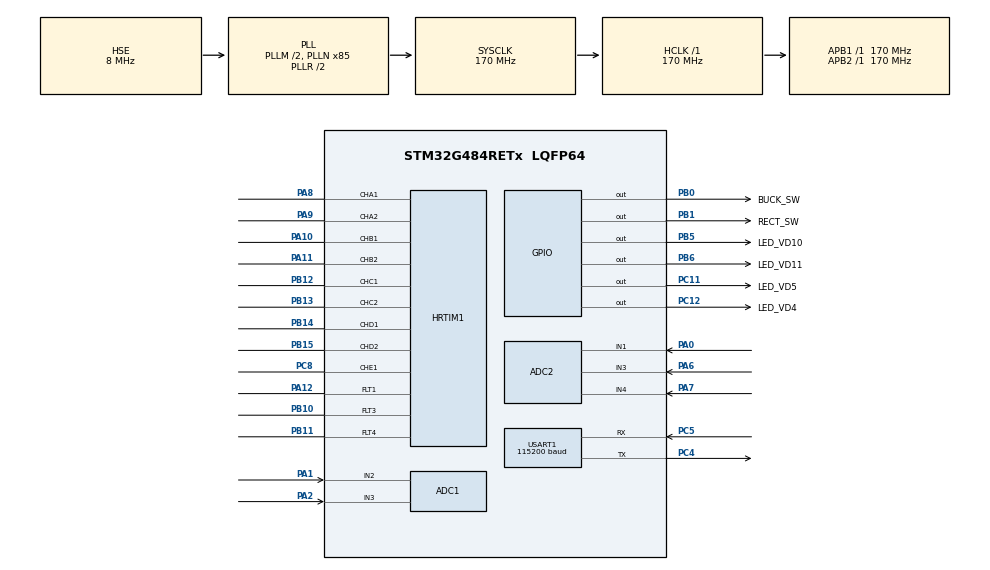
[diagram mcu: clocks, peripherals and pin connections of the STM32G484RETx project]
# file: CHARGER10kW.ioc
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HRTIM1.NumberSetSource1-Output_TE1=1
NVIC.ADC1_2_IRQn=true\:0\:0\:false\:false\:true\:true\:true
VP_TIM5_VS_ClockSourceINT.Mode=Internal
HRTIM1.InterruptRequests1-Output_TD1TD2=HRTIM_TIM_IT_CMP1
Dma.HRTIM1_A.4.EventEnable=DISABLE
ADC2.SamplingTime-1\#ChannelRegularConversion=ADC_SAMPLETIME_47CYCLES_5
PB10.Mode=Fault_Enable3
Dma.HRTIM1_A.4.SyncEnable=DISABLE
PC12.Signal=GPIO_Output
Dma.USART1_RX.2.Instance=DMA1_Channel2
HRTIM1.CompareUnit2-Output_TA1TA2=HRTIM_COMPAREUNIT_2
PB6.GPIO_Label=LED_VD11
HRTIM1.RisingValue-Output_TC1TC2=0x050
PC5.Mode=Asynchronous
HRTIM1.NumberSetSource1-Output_TD1TD2=1
PB13.Signal=HRTIM1_CHC2
HRTIM1.FallingValue-Output_TB1TB2=0x050
Dma.USART1_RX.2.SyncEnable=DISABLE
RCC.SYSCLKSource=RCC_SYSCLKSOURCE_PLLCLK
Dma.HRTIM1_E.1.MemInc=DMA_MINC_ENABLE
HRTIM1.CompareValue2-Output_TE1=15000
Dma.ADC2.3.SyncRequestNumber=1
NVIC.HRTIM1_TIME_IRQn=true\:0\:0\:false\:false\:true\:true\:true
HRTIM1.NumberFaultEnable-Output_TD1TD2=3
HRTIM1.DeadTimeInsertion-Output_TC1TC2=HRTIM_TIMDEADTIMEINSERTION_ENABLED
HRTIM1.Event_EEV1=__NULL
HRTIM1.CompareUnit3-Output_TA1TA2=HRTIM_COMPAREUNIT_3
HRTIM1.NumberResetSource1-Output_TA1TA2=1
HRTIM1.NumberInterruptRequests_Master-MasterTimer=1
NVIC.TIM5_IRQn=true\:0\:0\:false\:false\:true\:true\:true
HRTIM1.RepetitionUpdate-Output_TA1TA2=HRTIM_UPDATEONREPETITION_ENABLED
HRTIM1.ADCTrigger3_Source1=HRTIM_ADCTRIGGEREVENT13_TIMERE_CMP4
HRTIM1.RisingValue-Output_TB1TB2=0x050
RCC.APB2TimFreq_Value=170000000
PB6.Signal=GPIO_Output
Dma.ADC1.0.Direction=DMA_PERIPH_TO_MEMORY
ADC1.Channel-2\#ChannelRegularConversion=ADC_CHANNEL_2
Dma.HRTIM1_C.6.Polarity=HAL_DMAMUX_REQ_GEN_RISING
HRTIM1.ResetOutput1_Source1-Output_TA1TA2=HRTIM_OUTPUTRESET_TIMCMP1
HRTIM1.CompareUnit3-Output_TE1=HRTIM_COMPAREUNIT_3
Dma.ADC1.0.MemDataAlignment=DMA_MDATAALIGN_WORD
Dma.USART1_RX.2.SignalID=NONE
HRTIM1.NumberResetSource1-Output_TE1=1
HRTIM1.NumberDMARequests_TE=1
VP_HRTIM1_VS_hrtimMasterTimerNoOutput.Mode=MasterTimer
Dma.ADC2.3.MemDataAlignment=DMA_MDATAALIGN_WORD
HRTIM1.NumberDMARequests_TC=1
PB3.Mode=JTAG_5_pins
HRTIM1.NumberDMARequests_TD=1
HRTIM1.NumberDMARequests_TA=1
HRTIM1.NumberDMARequests_TB=1
Dma.USART1_RX.2.SyncRequestNumber=1
RCC.ADC12Freq_Value=170000000
Dma.HRTIM1_B.5.SignalID=NONE
Dma.HRTIM1_A.4.SyncRequestNumber=1
Dma.HRTIM1_E.1.Polarity=HAL_DMAMUX_REQ_GEN_RISING
Dma.HRTIM1_C.6.MemInc=DMA_MINC_ENABLE
HRTIM1.CompareUnit4-MasterTimer=HRTIM_COMPAREUNIT_4
Dma.HRTIM1_A.4.PeriphDataAlignment=DMA_PDATAALIGN_WORD
PB14.Mode=Output_TD1TD2
Dma.ADC1.0.PeriphInc=DMA_PINC_DISABLE
PB1.GPIO_Label=RECT_SW
HRTIM1.FallingValue-Output_TC1TC2=0x050
HRTIM1.InterruptRequests1-Output_TC1TC2=HRTIM_TIM_IT_CMP1
NVIC.TIM2_IRQn=true\:0\:0\:false\:false\:true\:true\:true
PA0.Mode=IN1-Single-Ended
Dma.HRTIM1_A.4.MemDataAlignment=DMA_MDATAALIGN_WORD
HRTIM1.CompareValue4-Output_TE1=0xFFEF
Dma.HRTIM1_E.1.SyncPolarity=HAL_DMAMUX_SYNC_NO_EVENT
PA8.Signal=HRTIM1_CHA1
HRTIM1.NumberFaultEnable-Output_TB1TB2=3
VP_TIM1_VS_ClockSourceINT.Mode=Internal
PA0.Signal=ADC2_IN1
HRTIM1.DeadTimeInsertion-Output_TA1TA2=HRTIM_TIMDEADTIMEINSERTION_ENABLED
Mcu.Package=LQFP64
TIM2.Prescaler=16
PB1.Signal=GPIO_Output
ADC1.EnableInjectedConversion=DISABLE
ADC1.OversamplingMode=DISABLE
HRTIM1.Filter_FaultLine1=HRTIM_FAULTFILTER_2
HRTIM1.ResetOutput1_Source1-Output_TB1TB2=HRTIM_OUTPUTRESET_TIMCMP1
HRTIM1.Filter_FaultLine3=HRTIM_FAULTFILTER_2
ADC2.Channel-1\#ChannelRegularConversion=ADC_CHANNEL_3
PA10.Signal=HRTIM1_CHB1
Dma.HRTIM1_E.1.PeriphInc=DMA_PINC_DISABLE
HRTIM1.NumberADCTriggerSource2=1
HRTIM1.NumberADCTriggerSource1=1
Dma.HRTIM1_A.4.MemInc=DMA_MINC_ENABLE
HRTIM1.NumberFaultEnable-Output_TC1TC2=3
HRTIM1.NumberADCTriggerSource3=1
RCC.APB1TimFreq_Value=170000000
Dma.USART1_RX.2.Polarity=HAL_DMAMUX_REQ_GEN_RISING
HRTIM1.InterruptRequests1_Master=HRTIM_MASTER_IT_MCMP4
HRTIM1.DeadTimeInsertion-Output_TB1TB2=HRTIM_TIMDEADTIMEINSERTION_ENABLED
ADC2.Rank-2\#ChannelRegularConversion=3
Dma.ADC2.3.SignalID=NONE
PB13.Mode=Output_TC1TC2
NVIC.DMA1_Channel4_IRQn=true\:0\:0\:false\:false\:true\:false\:true
Dma.HRTIM1_B.5.PeriphDataAlignment=DMA_PDATAALIGN_WORD
NVIC.USART1_IRQn=true\:0\:0\:false\:false\:true\:true\:true
PF1-OSC_OUT.Signal=RCC_OSC_OUT
Dma.ADC1.0.EventEnable=DISABLE
PC4.Mode=Asynchronous
HRTIM1.RisingValue-Output_TD1TD2=0x050
RCC.HSI48_VALUE=48000000
Dma.HRTIM1_A.4.Direction=DMA_MEMORY_TO_PERIPH
Dma.HRTIM1_C.6.PeriphInc=DMA_PINC_DISABLE
NVIC.DMA1_Channel6_IRQn=true\:0\:0\:false\:false\:true\:false\:true
HRTIM1.CompareUnit1-Output_TB1TB2=HRTIM_COMPAREUNIT_1
HRTIM1.FallingValue-Output_TD1TD2=0x050
HRTIM1.FaultEnable_Source1-Output_TE1=HRTIM_TIMFAULTENABLE_FAULT1
Dma.ADC2.3.PeriphDataAlignment=DMA_PDATAALIGN_WORD
HRTIM1.CompareUnit2-Output_TC1TC2=HRTIM_COMPAREUNIT_2
Dma.ADC1.0.Instance=DMA1_Channel1
HRTIM1.NumberUpdateTrigger-Output_TE1=0
HRTIM1.CompareUnit3-Output_TD1TD2=HRTIM_COMPAREUNIT_3
HRTIM1.NumberSetSource1-Output_TB1TB2=1
Dma.ADC1.0.SyncRequestNumber=1
Dma.HRTIM1_E.1.Direction=DMA_MEMORY_TO_PERIPH
Dma.HRTIM1_C.6.Priority=DMA_PRIORITY_LOW
HRTIM1.ResetUpdate-Output_TE1=HRTIM_TIMUPDATEONRESET_ENABLED
Dma.HRTIM1_E.1.PeriphDataAlignment=DMA_PDATAALIGN_WORD
HRTIM1.PreloadEnable-Output_TB1TB2=HRTIM_PRELOAD_ENABLED
HRTIM1.NumberInterruptRequests-Output_TA1TA2=1
Dma.HRTIM1_B.5.MemDataAlignment=DMA_MDATAALIGN_WORD
Dma.ADC2.3.Priority=DMA_PRIORITY_LOW
Dma.ADC2.3.SyncEnable=DISABLE
HRTIM1.RepetitionUpdate-Output_TC1TC2=HRTIM_UPDATEONREPETITION_ENABLED
Dma.USART1_RX.2.SyncPolarity=HAL_DMAMUX_SYNC_NO_EVENT
HRTIM1.CompareUnit1-Output_TE1=HRTIM_COMPAREUNIT_1
NVIC.DMA1_Channel8_IRQn=true\:0\:0\:false\:false\:true\:false\:true
HRTIM1.EventEnableA-Output_TA1TA2=__NULL
PB11.Mode=Fault_Enable4
HRTIM1.PreloadEnable-Output_TA1TA2=HRTIM_PRELOAD_ENABLED
Dma.HRTIM1_D.7.MemInc=DMA_MINC_ENABLE
Dma.HRTIM1_A.4.Polarity=HAL_DMAMUX_REQ_GEN_RISING
Dma.USART1_RX.2.Mode=DMA_CIRCULAR
Dma.ADC1.0.SignalID=NONE
Dma.ADC1.0.Priority=DMA_PRIORITY_LOW
PA9.Signal=HRTIM1_CHA2
Dma.HRTIM1_A.4.SyncSignalID=NONE
HRTIM1.PreloadEnable-MasterTimer=HRTIM_PRELOAD_ENABLED
HRTIM1.CompareUnit1-Output_TC1TC2=HRTIM_COMPAREUNIT_1
ADC2.OffsetNumber-1\#ChannelRegularConversion=ADC_OFFSET_NONE
PB10.Signal=HRTIM1_FLT3
PB14.Signal=HRTIM1_CHD1
Dma.ADC2.3.Direction=DMA_PERIPH_TO_MEMORY
Dma.ADC2.3.SyncSignalID=NONE
HRTIM1.InterruptRequests1-Output_TB1TB2=HRTIM_TIM_IT_CMP1
ADC2.OffsetNumber-0\#ChannelRegularConversion=ADC_OFFSET_NONE
Dma.HRTIM1_C.6.PeriphDataAlignment=DMA_PDATAALIGN_WORD
NVIC.TIM1_BRK_TIM15_IRQn=true\:0\:0\:false\:false\:true\:true\:true
Dma.HRTIM1_C.6.MemDataAlignment=DMA_MDATAALIGN_WORD
NVIC.HRTIM1_Master_IRQn=true\:0\:0\:false\:false\:true\:true\:true
Dma.USART1_RX.2.Priority=DMA_PRIORITY_LOW
ADC2.Channel-2\#ChannelRegularConversion=ADC_CHANNEL_4
NVIC.TIM3_IRQn=true\:0\:0\:false\:false\:true\:true\:true
Dma.HRTIM1_B.5.Direction=DMA_MEMORY_TO_PERIPH
RCC.ADC345Freq_Value=170000000
PA1.Mode=IN2-Single-Ended
Dma.USART1_RX.2.Direction=DMA_PERIPH_TO_MEMORY
Dma.HRTIM1_B.5.SyncRequestNumber=1
HRTIM1.CompareUnit1-Output_TA1TA2=HRTIM_COMPAREUNIT_1
HRTIM1.NumberInterruptRequests-Output_TB1TB2=1
HRTIM1.CompareUnit2-Output_TB1TB2=HRTIM_COMPAREUNIT_2
HRTIM1.CompareUnit3-Output_TC1TC2=HRTIM_COMPAREUNIT_3
ADC1.DMAContinuousRequests=ENABLE
HRTIM1.InterruptRequests2-Output_TE1=HRTIM_TIM_IT_CMP4
PA13.Mode=JTAG_5_pins
Dma.HRTIM1_B.5.RequestNumber=1
Dma.USART1_RX.2.MemInc=DMA_MINC_ENABLE
Dma.HRTIM1_C.6.Direction=DMA_MEMORY_TO_PERIPH
ADC1.ExternalTrigConv=ADC_EXTERNALTRIG_HRTIM_TRG1
NVIC.TIM1_CC_IRQn=true\:0\:0\:false\:false\:true\:true\:true
PC8.Mode=Output_TE1
Dma.HRTIM1_D.7.SyncSignalID=NONE
HRTIM1.DeadTimeInsertion-Output_TD1TD2=HRTIM_TIMDEADTIMEINSERTION_ENABLED
PB5.Signal=GPIO_Output
HRTIM1.NumberInterruptRequests-Output_TD1TD2=1
ADC1.master=1
RCC.USART1CLockSelection=RCC_USART1CLKSOURCE_SYSCLK
ADC2.NbrOfConversionFlag=1
HRTIM1.InterruptRequests1-Output_TA1TA2=HRTIM_TIM_IT_CMP1
HRTIM1.FallingValue-Output_TA1TA2=0x050
PC12.GPIO_Label=LED_VD4
Dma.ADC1.0.RequestNumber=1
Dma.HRTIM1_D.7.EventEnable=DISABLE
PA11.Signal=HRTIM1_CHB2
Dma.HRTIM1_B.5.Mode=DMA_CIRCULAR
NVIC.DMA2_Channel1_IRQn=true\:0\:0\:false\:false\:true\:false\:true
Dma.ADC2.3.EventEnable=DISABLE
ProjectManager.HeapSize=0x200
ADC2.OversamplingMode=DISABLE
VP_TIM4_VS_ClockSourceINT.Mode=Internal
Dma.HRTIM1_E.1.SignalID=NONE
NVIC.PriorityGroup=NVIC_PRIORITYGROUP_4
HRTIM1.NumberSetSource1-Output_TC1TC2=1
ADC1.EnableRegularConversion=ENABLE
PA8.Mode=Output_TA1TA2
Dma.HRTIM1_B.5.Instance=DMA1_Channel5
NVIC.DMA1_Channel1_IRQn=true\:0\:0\:false\:false\:true\:false\:true
PF0-OSC_IN.Signal=RCC_OSC_IN
Dma.HRTIM1_D.7.PeriphInc=DMA_PINC_DISABLE
HRTIM1.RepetitionUpdate-Output_TB1TB2=HRTIM_UPDATEONREPETITION_ENABLED
Dma.HRTIM1_D.7.Polarity=HAL_DMAMUX_REQ_GEN_RISING
Dma.HRTIM1_A.4.SyncPolarity=HAL_DMAMUX_SYNC_NO_EVENT
HRTIM1.CompareUnit3-Output_TB1TB2=HRTIM_COMPAREUNIT_3
PB0.Signal=GPIO_Output
Dma.HRTIM1_A.4.Priority=DMA_PRIORITY_LOW
TIM1.PeriodNoDither=499
Dma.HRTIM1_E.1.Priority=DMA_PRIORITY_VERY_HIGH
Mcu.Family=STM32G4
HRTIM1.PreloadEnable-Output_TD1TD2=HRTIM_PRELOAD_ENABLED
Dma.USART1_RX.2.EventEnable=DISABLE
ADC2.ExternalTrigConv=ADC_SOFTWARE_START
PA6.Mode=IN3-Single-Ended
ADC2.OffsetNumber-2\#ChannelRegularConversion=ADC_OFFSET_NONE
RCC.CortexFreq_Value=170000000
Dma.ADC2.3.SyncPolarity=HAL_DMAMUX_SYNC_NO_EVENT
HRTIM1.NumberInterruptRequests-Output_TC1TC2=1
HRTIM1.DMARequests1-Output_TA1TA2=HRTIM_TIM_DMA_REP
HRTIM1.NumberInterruptRequests-Output_TE1=2
NVIC.DMA1_Channel5_IRQn=true\:0\:0\:false\:false\:true\:false\:true
ADC1.ContinuousConvMode=ENABLE
ADC2.Channel-0\#ChannelRegularConversion=ADC_CHANNEL_1
Dma.ADC1.0.Polarity=HAL_DMAMUX_REQ_GEN_RISING
Dma.HRTIM1_A.4.SignalID=NONE
USART1.BaudRate=115200
Dma.HRTIM1_E.1.SyncEnable=DISABLE
Dma.HRTIM1_D.7.Instance=DMA1_Channel8
PA11.Mode=Output_TB1TB2
PB0.GPIO_Label=BUCK_SW
HRTIM1.CompareValue3-Output_TE1=15000
HRTIM1.FaultEnable_Source2-Output_TD1TD2=HRTIM_TIMFAULTENABLE_FAULT3
PB11.Signal=HRTIM1_FLT4
Dma.USART1_RX.2.SyncSignalID=NONE
HRTIM1.FaultLevel1-Output_TC1TC2=HRTIM_OUTPUTFAULTLEVEL_INACTIVE
PB15.Signal=HRTIM1_CHD2
HRTIM1.InterruptRequests1-Output_TE1=HRTIM_TIM_IT_CMP1
ADC2.DiscontinuousConvMode=ENABLE
Dma.HRTIM1_E.1.RequestNumber=1
HRTIM1.FaultLevel1-Output_TE1=HRTIM_OUTPUTFAULTLEVEL_INACTIVE
ProjectManager.StackSize=0x400
Dma.ADC2.3.Polarity=HAL_DMAMUX_REQ_GEN_RISING
PA12.Signal=HRTIM1_FLT1
TIM1.Prescaler=16
HRTIM1.SetOutput1_Source1-Output_TA1TA2=HRTIM_OUTPUTSET_TIMPER
ADC2.DMAContinuousRequests=ENABLE
Dma.HRTIM1_A.4.RequestNumber=1
HRTIM1.CompareUnit4-Output_TE1=HRTIM_COMPAREUNIT_4
HRTIM1.Periode_MASTER=38857
ADC1.Channel-3\#ChannelRegularConversion=ADC_CHANNEL_3
HRTIM1.NumberFaultEnable-Output_TE1=3
RCC.HCLKFreq_Value=170000000
Dma.ADC2.3.PeriphInc=DMA_PINC_DISABLE
Dma.HRTIM1_A.4.Instance=DMA1_Channel4
HRTIM1.ResetOutput1_Source1-Output_TD1TD2=HRTIM_OUTPUTRESET_TIMCMP1
HRTIM1.CompareUnit2-Output_TE1=HRTIM_COMPAREUNIT_2
RCC.AHBFreq_Value=170000000
HRTIM1.ORingUpdateSource_ADCTrigger3=HRTIM_ADCTRIGGERUPDATE_TIMER_E
NVIC.HRTIM1_FLT_IRQn=true\:0\:0\:false\:false\:true\:true\:true
Dma.HRTIM1_D.7.SyncRequestNumber=1
HRTIM1.ORingUpdateSource_ADCTrigger1=HRTIM_ADCTRIGGERUPDATE_TIMER_E
HRTIM1.ORingUpdateSource_ADCTrigger2=HRTIM_ADCTRIGGERUPDATE_TIMER_E
Dma.HRTIM1_D.7.SignalID=NONE
RCC.HSE_VALUE=8000000
HRTIM1.Polarity_FaultLine1=HRTIM_FAULTPOLARITY_LOW
HRTIM1.RepetitionUpdate-Output_TD1TD2=HRTIM_UPDATEONREPETITION_ENABLED
PA15.Mode=JTAG_5_pins
HRTIM1.NumberSetSource1-Output_TA1TA2=1
NVIC.TIM1_TRG_COM_TIM17_IRQn=true\:0\:0\:false\:false\:true\:true\:true
TIM2.PeriodNoDither=499
ADC1.Rank-2\#ChannelRegularConversion=1
PB4.Mode=JTAG_5_pins
Dma.HRTIM1_B.5.SyncPolarity=HAL_DMAMUX_SYNC_NO_EVENT
HRTIM1.RepetitionUpdate-Output_TE1=HRTIM_UPDATEONREPETITION_ENABLED
PA14.Mode=JTAG_5_pins
TIM3.Prescaler=169
HRTIM1.HRTIMInterruptResquests3=HRTIM_IT_FLT4
HRTIM1.PrescalerRatio_MASTER=HRTIM_PRESCALERRATIO_MUL16
PC11.GPIO_Label=LED_VD5
HRTIM1.HRTIMInterruptResquests4=HRTIM_IT_NONE
Dma.HRTIM1_D.7.Priority=DMA_PRIORITY_LOW
HRTIM1.HRTIMInterruptResquests1=HRTIM_IT_FLT1
HRTIM1.HRTIMInterruptResquests2=HRTIM_IT_FLT3
HRTIM1.FaultEnable_Source1-Output_TD1TD2=HRTIM_TIMFAULTENABLE_FAULT1
VP_SYS_VS_DBSignals.Mode=DisableDeadBatterySignals
HRTIM1.DMARequests1-Output_TB1TB2=HRTIM_TIM_DMA_REP
HRTIM1.FaultEnable_Source3-Output_TC1TC2=HRTIM_TIMFAULTENABLE_NONE
Dma.HRTIM1_D.7.SyncPolarity=HAL_DMAMUX_SYNC_NO_EVENT
HRTIM1.ResetOutput1_Source1-Output_TE1=HRTIM_OUTPUTRESET_TIMCMP1
Dma.HRTIM1_B.5.SyncEnable=DISABLE
HRTIM1.FaultLevel2-Output_TC1TC2=HRTIM_OUTPUTFAULTLEVEL_INACTIVE
Dma.HRTIM1_D.7.MemDataAlignment=DMA_MDATAALIGN_WORD
PA6.Signal=ADC2_IN3
PB12.Mode=Output_TC1TC2
HRTIM1.CompareUnit2-Output_TD1TD2=HRTIM_COMPAREUNIT_2
HRTIM1.FaultEnable_Source1-Output_TB1TB2=HRTIM_TIMFAULTENABLE_FAULT1
HRTIM1.FaultEnable_Source2-Output_TC1TC2=HRTIM_TIMFAULTENABLE_FAULT3
Dma.ADC2.3.RequestNumber=1
HRTIM1.FaultEnable_Source3-Output_TD1TD2=HRTIM_TIMFAULTENABLE_NONE
PA15.Signal=SYS_JTDI
ADC2.SamplingTime-0\#ChannelRegularConversion=ADC_SAMPLETIME_47CYCLES_5
Dma.HRTIM1_E.1.SyncRequestNumber=1
HRTIM1.ADCTrigger1_Source1=HRTIM_ADCTRIGGEREVENT13_TIMERE_CMP4
TIM3.PeriodNoDither=999
HRTIM1.ResetOutput1_Source1-Output_TC1TC2=HRTIM_OUTPUTRESET_TIMCMP1
HRTIM1.FaultLevel1-Output_TD1TD2=HRTIM_OUTPUTFAULTLEVEL_INACTIVE
Dma.HRTIM1_B.5.Polarity=HAL_DMAMUX_REQ_GEN_RISING
HRTIM1.CompareUnit1-Output_TD1TD2=HRTIM_COMPAREUNIT_1
Dma.HRTIM1_C.6.Mode=DMA_CIRCULAR
ADC2.SamplingTime-2\#ChannelRegularConversion=ADC_SAMPLETIME_47CYCLES_5
PB5.GPIO_Label=LED_VD10
ADC2.NbrOfConversion=3
Dma.Request2=USART1_RX
HRTIM1.Enable_FaultLine4=HRTIM_FAULTMODECTL_DISABLED
Dma.Request1=HRTIM1_E
Dma.Request4=HRTIM1_A
Dma.Request3=ADC2
Dma.Request6=HRTIM1_C
Dma.Request5=HRTIM1_B
Dma.Request7=HRTIM1_D
PC5.Signal=USART1_RX
Dma.HRTIM1_B.5.MemInc=DMA_MINC_ENABLE
Dma.HRTIM1_C.6.RequestNumber=1
HRTIM1.FaultEnable_Source1-Output_TC1TC2=HRTIM_TIMFAULTENABLE_FAULT1
ADC2.Rank-0\#ChannelRegularConversion=1
Dma.HRTIM1_E.1.MemDataAlignment=DMA_MDATAALIGN_WORD
PF1-OSC_OUT.Mode=HSE-External-Oscillator
Dma.Request0=ADC1
HRTIM1.PreloadEnable-Output_TC1TC2=HRTIM_PRELOAD_ENABLED
VP_TIM3_VS_ClockSourceINT.Mode=Internal
Dma.USART1_RX.2.MemDataAlignment=DMA_MDATAALIGN_BYTE
PB4.Signal=SYS_JTRST
Dma.HRTIM1_A.4.Mode=DMA_CIRCULAR
HRTIM1.FaultEnable_Source2-Output_TE1=HRTIM_TIMFAULTENABLE_FAULT3
Dma.HRTIM1_D.7.Direction=DMA_MEMORY_TO_PERIPH
HRTIM1.FaultLevel2-Output_TD1TD2=HRTIM_OUTPUTFAULTLEVEL_INACTIVE
Dma.HRTIM1_E.1.Mode=DMA_CIRCULAR
RCC.PLLSourceVirtual=RCC_PLLSOURCE_HSE
HRTIM1.NumberFaultEnable-Output_TA1TA2=3
Dma.HRTIM1_C.6.SignalID=NONE
PA7.Mode=IN4-Single-Ended
HRTIM1.FaultLevel1-Output_TA1TA2=HRTIM_OUTPUTFAULTLEVEL_INACTIVE
PA10.Mode=Output_TB1TB2
HRTIM1.FaultLevel2-Output_TB1TB2=HRTIM_OUTPUTFAULTLEVEL_INACTIVE
HRTIM1.ADCTrigger2_Source1=HRTIM_ADCTRIGGEREVENT24_TIMERE_CMP3
PC11.Signal=GPIO_Output
TIM4.PeriodNoDither=999
ADC1.OffsetNumber-3\#ChannelRegularConversion=ADC_OFFSET_NONE
PC8.Signal=HRTIM1_CHE1
Dma.HRTIM1_B.5.PeriphInc=DMA_PINC_DISABLE
PC4.Signal=USART1_TX
Dma.HRTIM1_C.6.EventEnable=DISABLE
RCC.EXTERNAL_CLOCK_VALUE=12288000
HRTIM1.FaultEnable_Source2-Output_TA1TA2=HRTIM_TIMFAULTENABLE_FAULT3
Dma.ADC2.3.Instance=DMA2_Channel1
Dma.HRTIM1_C.6.SyncEnable=DISABLE
Dma.HRTIM1_E.1.SyncSignalID=NONE
Dma.USART1_RX.2.PeriphInc=DMA_PINC_DISABLE
ADC1.SamplingTime-2\#ChannelRegularConversion=ADC_SAMPLETIME_47CYCLES_5
Dma.HRTIM1_D.7.RequestNumber=1
HRTIM1.PrescalerRatio_TE=HRTIM_PRESCALERRATIO_MUL16
HRTIM1.SetOutput1_Source1-Output_TB1TB2=HRTIM_OUTPUTSET_TIMPER
USART1.VirtualMode-Asynchronous=VM_ASYNC
PA13.Signal=SYS_JTMS-SWDIO
Dma.HRTIM1_C.6.SyncSignalID=NONE
Dma.ADC1.0.PeriphDataAlignment=DMA_PDATAALIGN_WORD
HRTIM1.DMARequests1-Output_TC1TC2=HRTIM_TIM_DMA_REP
PA9.Mode=Output_TA1TA2
HRTIM1.FaultEnable_Source1-Output_TA1TA2=HRTIM_TIMFAULTENABLE_FAULT1
Dma.HRTIM1_B.5.SyncSignalID=NONE
HRTIM1.RepetitionUpdate-MasterTimer=HRTIM_UPDATEONREPETITION_ENABLED
NVIC.DMA1_Channel2_IRQn=true\:0\:0\:false\:false\:true\:false\:true
ProjectManager.TargetToolchain=STM32CubeIDE
Dma.ADC1.0.Mode=DMA_NORMAL
Dma.HRTIM1_C.6.Instance=DMA1_Channel7
HRTIM1.FaultEnable_Source2-Output_TB1TB2=HRTIM_TIMFAULTENABLE_FAULT3
USART1.DataInvertParam=ADVFEATURE_DATAINV_DISABLE
Dma.ADC1.0.SyncSignalID=NONE
Dma.USART1_RX.2.PeriphDataAlignment=DMA_PDATAALIGN_BYTE
HRTIM1.AutoDelayedMode4-Output_TE1=HRTIM_AUTODELAYEDMODE_AUTODELAYED_NOTIMEOUT
HRTIM1.ResetUpdate-Output_TA1TA2=HRTIM_TIMUPDATEONRESET_ENABLED
HRTIM1.FaultLevel1-Output_TB1TB2=HRTIM_OUTPUTFAULTLEVEL_INACTIVE
HRTIM1.NumberResetSource1-Output_TD1TD2=1
RCC.USBFreq_Value=170000000
TIM4.Prescaler=169
RCC.LSE_VALUE=32768
PA1.Signal=ADC1_IN2
PF0-OSC_IN.Mode=HSE-External-Oscillator
HRTIM1.FaultEnable_Source3-Output_TB1TB2=HRTIM_TIMFAULTENABLE_NONE
Dma.HRTIM1_E.1.Instance=DMA1_Channel6
HRTIM1.ADCTrigger_Id2=__NULL
HRTIM1.ADCTrigger_Id1=HRTIM_ADCTRIGGER_1
HRTIM1.ADCTrigger_Id3=HRTIM_ADCTRIGGER_3
board=custom
HRTIM1.FaultEnable_Source3-Output_TA1TA2=HRTIM_TIMFAULTENABLE_NONE
RCC.VCOOutputFreq_Value=340000000
PB15.Mode=Output_TD1TD2
HRTIM1.Polarity_FaultLine3=HRTIM_FAULTPOLARITY_LOW
HRTIM1.Polarity_FaultLine4=HRTIM_FAULTPOLARITY_LOW
Dma.ADC1.0.SyncPolarity=HAL_DMAMUX_SYNC_NO_EVENT
HRTIM1.FaultLevel2-Output_TA1TA2=HRTIM_OUTPUTFAULTLEVEL_INACTIVE
RCC.APB2Freq_Value=170000000
HRTIM1.CompareValue1-Output_TE1=5000
VP_TIM2_VS_ClockSourceINT.Mode=Internal
Dma.HRTIM1_B.5.Priority=DMA_PRIORITY_LOW
Dma.ADC2.3.Mode=DMA_CIRCULAR
Dma.HRTIM1_C.6.SyncPolarity=HAL_DMAMUX_SYNC_NO_EVENT
HRTIM1.SetOutput1_Source1-Output_TD1TD2=HRTIM_OUTPUTSET_TIMPER
Dma.HRTIM1_D.7.Mode=DMA_CIRCULAR
Dma.ADC2.3.MemInc=DMA_MINC_ENABLE
ADC1.NbrOfConversion=2
ADC1.OffsetNumber-2\#ChannelRegularConversion=ADC_OFFSET_NONE
Mcu.Name=STM32G484RETx
PA2.Signal=ADC1_IN3
Dma.HRTIM1_B.5.EventEnable=DISABLE
HRTIM1.SetOutput1_Source1-Output_TE1=HRTIM_OUTPUTSET_TIMPER
TIM5.PeriodNoDither=999
HRTIM1.NumberResetSource1-Output_TC1TC2=1
PB3.Signal=SYS_JTDO-SWO
RCC.SYSCLKFreq_VALUE=170000000
USART1.OverSampling=UART_OVERSAMPLING_16
PA12.Mode=Fault_Enable1
HRTIM1.NumberResetSource1-Output_TB1TB2=1
ADC1.SamplingTime-3\#ChannelRegularConversion=ADC_SAMPLETIME_47CYCLES_5
ADC1.Rank-3\#ChannelRegularConversion=2
TIM5.Prescaler=169
USART1.AutoBaudRateEnableParam=UART_ADVFEATURE_AUTOBAUDRATE_DISABLE
Dma.HRTIM1_D.7.SyncEnable=DISABLE
HRTIM1.FaultLock-Output_TE1=HRTIM_TIMFAULTLOCK_READWRITE
HRTIM1.DMARequests1-Output_TE1=HRTIM_TIM_DMA_REP
Dma.HRTIM1_A.4.PeriphInc=DMA_PINC_DISABLE
Dma.ADC1.0.SyncEnable=DISABLE
HRTIM1.RisingValue-Output_TA1TA2=0x050
Dma.ADC1.0.MemInc=DMA_MINC_ENABLE
PA14.Signal=SYS_JTCK-SWCLK
RCC.HSI_VALUE=16000000
NVIC.TIM1_UP_TIM16_IRQn=true\:0\:0\:false\:false\:true\:true\:true
ADC1.NbrOfConversionFlag=1
RCC.PLLM=RCC_PLLM_DIV2
HRTIM1.DMARequests1-Output_TD1TD2=HRTIM_TIM_DMA_REP
RCC.PLLN=85
ADC2.Rank-1\#ChannelRegularConversion=2
PA2.Mode=IN3-Single-Ended
NVIC.FPU_IRQn=true\:0\:0\:false\:false\:true\:true\:false
HRTIM1.FaultEnable_Source3-Output_TE1=HRTIM_TIMFAULTENABLE_NONE
NVIC.DMA1_Channel7_IRQn=true\:0\:0\:false\:false\:true\:false\:true
NVIC.TIM4_IRQn=true\:0\:0\:false\:false\:true\:true\:true
RCC.APB1Freq_Value=170000000
VP_CRC_VS_CRC.Mode=CRC_Activate
HRTIM1.SetOutput1_Source1-Output_TC1TC2=HRTIM_OUTPUTSET_TIMPER
HRTIM1.Periode_TA=28632
HRTIM1.Periode_TB=28632
Dma.HRTIM1_D.7.PeriphDataAlignment=DMA_PDATAALIGN_WORD
HRTIM1.Periode_TC=28632
Dma.HRTIM1_C.6.SyncRequestNumber=1
HRTIM1.Periode_TD=28632
PB12.Signal=HRTIM1_CHC1
Dma.HRTIM1_E.1.EventEnable=DISABLE
HRTIM1.Periode_TE=38857
Dma.USART1_RX.2.RequestNumber=1
PA7.Signal=ADC2_IN4
HRTIM1.PreloadEnable-Output_TE1=HRTIM_PRELOAD_ENABLED

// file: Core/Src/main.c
/* USER CODE BEGIN Header */
/**
  ******************************************************************************
  * @file           : main.c
  * @brief          : Main program body
  ******************************************************************************
  * @attention
  *
  * <h2><center>&copy; Copyright (c) 2021 STMicroelectronics.
  * All rights reserved.</center></h2>
  *
  * This software component is licensed by ST under BSD 3-Clause license,
  * the "License"; You may not use this file except in compliance with the
  * License. You may obtain a copy of the License at:
  *                        opensource.org/licenses/BSD-3-Clause
  *
  ******************************************************************************
  */
/* USER CODE END Header */
#include "main.h"
#include "adc.h"
#include "crc.h"
#include "dma.h"
#include "hrtim.h"
#include "hrtim.h"
#include "tim.h"
#include "usart.h"
#include "gpio.h"

/* USER CODE BEGIN Includes */
#include "Application_Conf.h"
#include "DPC_Timeout.h"
#include "ControlFunc.h"
#include "PWM_Functions.h"
#include "UART_Functions.h"
/* USER CODE END Includes */

/* USER CODE BEGIN PV */
HAL_StatusTypeDef Init_Status;

PID_Control_Struct PID_CONF_StartUp;

PID_Control_Struct UDC_LIMIT_PID;
PID_Control_Struct IDC_LIMIT_PID;

static DMA_PWMDUTY_STRUCT DMA_HRTIM_SRC;
static DMA_UART_STRUCT DMA_UART_SRC;
extern UART_Message_Struct UART_MSG;
uint16_t ADDr_to_send[5];
uint16_t DATA_to_send[5];
uint8_t P_data[30];

extern RAW_ADC_Struct Raw_ADC;
extern RAW_ADC_Struct Raw_DMA;

ADC_Conf_TypeDef ADC_Conf;
Cooked_ADC_Struct ADC_IN_PHY;

uint16_t StartUp;
float PID_Result;
float PID_Result_V;
float PID_Result_I;
float PWM;
uint32_t p_ADC1_Data[ADC1_CHs];
uint32_t p_ADC2_Data[ADC2_CHs];

volatile FlagStatus Calc_Start;
FlagStatus DMA_FLAG;

uint16_t service_sw;
uint32_t service_adc_time_check;

System_state Status;

/* USER CODE END PV */

void SystemClock_Config(void);

int main(void)
{

  /* MCU Configuration--------------------------------------------------------*/

  /* Reset of all peripherals, Initializes the Flash interface and the Systick. */
  HAL_Init();

  /* Configure the system clock */
  SystemClock_Config();

  /* Initialize all configured peripherals */
  MX_GPIO_Init();
  MX_DMA_Init();
  MX_ADC1_Init();
  MX_ADC2_Init();
  MX_HRTIM1_Init();
  MX_TIM1_Init();
  MX_TIM2_Init();
  MX_TIM3_Init();
  MX_TIM4_Init();
  MX_TIM5_Init();
  MX_USART1_UART_Init();
  MX_CRC_Init();
  /* USER CODE BEGIN 2 */

  PID_Init(&PID_CONF_StartUp, STUP_PID_K_P,STUP_PID_K_I,STUP_PID_K_D, BUCK_Math_Frequency, STUP_PID_W_F, STUP_PID_SAT_UP,
		  STUP_PID_SAT_DOWN, STUP_PID_HIST, STUP_PID_ANTIWINDUP, STUP_PID_BASE_VAL);
  PID_Init(&UDC_LIMIT_PID, V_LIM_PID_K_P,V_LIM_PID_K_I,V_LIM_PID_K_D, BUCK_Math_Frequency, V_LIM_PID_W_F, V_LIM_PID_SAT_UP,
		  V_LIM_PID_SAT_DOWN, V_LIM_PID_HIST, V_LIM_PID_ANTIWINDUP, V_LIM_PID_BASE_VAL);
  PID_Init(&IDC_LIMIT_PID, I_LIM_PID_K_P,I_LIM_PID_K_I,I_LIM_PID_K_D, BUCK_Math_Frequency, I_LIM_PID_W_F, I_LIM_PID_SAT_UP,
		  I_LIM_PID_SAT_DOWN, I_LIM_PID_HIST, I_LIM_PID_ANTIWINDUP, I_LIM_PID_BASE_VAL);

  ADC_Gain_Init(&ADC_Conf,G_VAC,B_VAC,G_IAC,B_IAC,G_VDC,B_VDC,G_IDC,B_IDC);
  ADC_Gain_Init_2(&ADC_Conf,G_VDCLINK,B_VDCLINK,G_IDCLINK,B_IDCLINK,G_VRECT,B_VRECT);

  HAL_TIM_Base_Start_IT(&htim1);
  HAL_TIM_Base_Start_IT(&htim2);
  HAL_TIM_Base_Start_IT(&htim3);
  HAL_TIM_Base_Start_IT(&htim4);

  DPC_TO_Init();

  DPC_TO_Set(1,1000);
  DPC_TO_Set(TO_UART,UART_DELAY);
  DPC_TO_Set(TO_CHARGING_RELAYS, CHARGE_DELAY);
  //HRTIM_PWM_Init(&DMA_HRTIM_SRC);

  HRTIM_PWM_Init(&DMA_HRTIM_SRC);

  HAL_HRTIM_SimpleBaseStart(&hhrtim1, HRTIM_TIMERINDEX_MASTER);
  HAL_HRTIM_WaveformCountStart_IT(&hhrtim1, HRTIM_TIMERINDEX_MASTER);
  HAL_HRTIM_UpdateEnable(&hhrtim1,HRTIM_TIMERINDEX_MASTER);

  HAL_HRTIM_SimpleBaseStart(&hhrtim1, HRTIM_TIMERINDEX_TIMER_A);
  //HAL_HRTIM_SimpleBaseStart_DMA(&hhrtim1, HRTIM_TIMERINDEX_TIMER_A, (uint32_t) &DMA_HRTIM_SRC.chA1, (uint32_t) &(hhrtim1.Instance->sTimerxRegs[0].CMP1xR), 1);
  HAL_HRTIM_WaveformCountStart_IT(&hhrtim1, HRTIM_TIMERINDEX_TIMER_A);
  HAL_HRTIM_UpdateEnable(&hhrtim1,HRTIM_TIMERINDEX_TIMER_A);
  HAL_HRTIM_WaveformOutputStart(&hhrtim1, HRTIM_OUTPUT_TA1|HRTIM_OUTPUT_TA2);

  HAL_HRTIM_SimpleBaseStart(&hhrtim1, HRTIM_TIMERINDEX_TIMER_B);
  HAL_HRTIM_WaveformCountStart_IT(&hhrtim1, HRTIM_TIMERINDEX_TIMER_B);
  HAL_HRTIM_UpdateEnable(&hhrtim1,HRTIM_TIMERINDEX_TIMER_B);
  HAL_HRTIM_WaveformOutputStart(&hhrtim1, HRTIM_OUTPUT_TB1|HRTIM_OUTPUT_TB2);

  HAL_HRTIM_SimpleBaseStart(&hhrtim1, HRTIM_TIMERINDEX_TIMER_C);
  HAL_HRTIM_WaveformCountStart_IT(&hhrtim1, HRTIM_TIMERINDEX_TIMER_C);
  HAL_HRTIM_UpdateEnable(&hhrtim1,HRTIM_TIMERINDEX_TIMER_C);
  HAL_HRTIM_WaveformOutputStart(&hhrtim1, HRTIM_OUTPUT_TC1|HRTIM_OUTPUT_TC2);

  HAL_HRTIM_SimpleBaseStart(&hhrtim1, HRTIM_TIMERINDEX_TIMER_D);
  HAL_HRTIM_WaveformCountStart_IT(&hhrtim1, HRTIM_TIMERINDEX_TIMER_D);
  HAL_HRTIM_UpdateEnable(&hhrtim1,HRTIM_TIMERINDEX_TIMER_D);
  HAL_HRTIM_WaveformOutputStart(&hhrtim1, HRTIM_OUTPUT_TD1|HRTIM_OUTPUT_TD2);

  HAL_HRTIM_SimpleBaseStart_DMA(&hhrtim1, HRTIM_TIMERINDEX_TIMER_E, (uint32_t) &DMA_HRTIM_SRC.chE1, (uint32_t) &(hhrtim1.Instance->sTimerxRegs[4].CMP1xR), 1);
  HAL_HRTIM_SimpleBaseStart_IT(&hhrtim1, HRTIM_TIMERINDEX_TIMER_E);
  HAL_HRTIM_UpdateEnable(&hhrtim1,HRTIM_TIMERINDEX_TIMER_E);
  HAL_HRTIM_WaveformOutputStart(&hhrtim1, HRTIM_OUTPUT_TE1);

  //HAL_ADC_Start_DMA(&hadc1, p_ADC1_Data, ADC1_MA_PERIOD_RAW*ADC1_CHs);

  HAL_ADC_Start_DMA(&hadc2, p_ADC2_Data, ADC2_MA_PERIOD_RAW*ADC2_CHs); //110821

  //HAL_UART_Transmit_DMA(&huart1, &DMA_UART_SRC.Transmit, UART_MSG.MsgLength);
  UART_Start_Receive_IT(&huart1, &DMA_UART_SRC.Received[0], UART_PACKAGE_SIZE);
  HAL_UART_Receive_DMA(&huart1, &DMA_UART_SRC.Received[0], UART_PACKAGE_SIZE);

  UART_Message_Init(&UART_MSG,UART_HEADER,UART_SRC_ADDR);

  /* USER CODE END 2 */

  /* Infinite loop */
  while (1)
  {

    /* USER CODE BEGIN 3 */

	//HAL_ADC_Start_DMA(&hadc1, p_ADC1_Data, ADC1_MA_PERIOD_RAW*ADC1_CHs);

	if (Status==Fault_OV_DClink || Status==Fault_I_DClink){
		PWM_DUTY_Processing(&DMA_HRTIM_SRC, TIMER_E, 0);
		HAL_HRTIM_WaveformOutputStop(&hhrtim1, HRTIM_OUTPUT_TE1);
		HAL_HRTIM_WaveformOutputStop(&hhrtim1, HRTIM_OUTPUT_TA1|HRTIM_OUTPUT_TA2);
		HAL_HRTIM_WaveformOutputStop(&hhrtim1, HRTIM_OUTPUT_TB1|HRTIM_OUTPUT_TB2);
		HAL_HRTIM_WaveformOutputStop(&hhrtim1, HRTIM_OUTPUT_TC1|HRTIM_OUTPUT_TC2);
		HAL_HRTIM_WaveformOutputStop(&hhrtim1, HRTIM_OUTPUT_TD1|HRTIM_OUTPUT_TD2);
	}

	if (DPC_TO_Check(1)==TO_OUT_TOOK){

		//PWM_DUTY_Processing(&DMA_HRTIM_SRC, TIMER_A, 0.8);
		//PWM_DUTY_Processing(&DMA_HRTIM_SRC, TIMER_E, 0.2);
		//HAL_ADC_Start_DMA(&hadc1, p_ADC1_Data, ADC1_MA_PERIOD_RAW*ADC1_CHs);
		HAL_GPIO_TogglePin(LED_VD4_GPIO_Port, LED_VD4_Pin);
		DPC_TO_Set(1,500);
	}

	if (DPC_TO_Check(TO_UART)==TO_OUT_TOOK){

		ADDr_to_send[0]=0x011d;

		UART_Message_Send(&UART_MSG, ADDr_to_send, DATA_to_send, UART_MSG_Types_READ , 1);
		UART_Message_Send_Package_Processing(&UART_MSG, &DMA_UART_SRC);
		//HAL_UART_Transmit_DMA(&huart2, &P_data[0] /*&DMA_UART_SRC.Transmit[0]*/, UART_PACKAGE_SIZE);
		HAL_UART_Transmit_IT(&huart1, &DMA_UART_SRC.Transmit[0], UART_PACKAGE_SIZE);
		DPC_TO_Set(TO_UART,UART_DELAY);

	}
	if (DPC_TO_Check(TO_CHARGING_RELAYS)==TO_OUT_TOOK){
		HAL_GPIO_WritePin(RECT_SW_GPIO_Port, RECT_SW_Pin, GPIO_PIN_SET );
		HAL_GPIO_WritePin(LED_VD11_GPIO_Port, LED_VD11_Pin, GPIO_PIN_SET);
	}

	if(Calc_Start==SET){

		DATA_Processing();
		ADC_MA_VAL_Collection();
		ADC2Phy_VDC_ProcessData(&ADC_Conf,(RAW_ADC_Struct*)Read_Volt_DC(), &ADC_IN_PHY);
		ADC2Phy_IDC_ProcessData(&ADC_Conf,(RAW_ADC_Struct*)Read_Volt_DC(), &ADC_IN_PHY);
		ADC2Phy_Idclink_ProcessData(&ADC_Conf,(RAW_ADC_Struct*)Read_Volt_DC(), &ADC_IN_PHY);
		ADC2Phy_Vdclink_ProcessData(&ADC_Conf,(RAW_ADC_Struct*)Read_Volt_DC(), &ADC_IN_PHY);
		ADC2Phy_Vrect_ProcessData(&ADC_Conf,(RAW_ADC_Struct*)Read_Volt_DC(), &ADC_IN_PHY);

		if (((float)ADC_IN_PHY.Vdclink) > BUCK_VDC_REF_LOW_REF){
			StartUp=1;
		}
		else if (((float)ADC_IN_PHY.Vdclink) < 20){
			StartUp=0;
			PID_CONF_StartUp.resetPI=SET;
		}

		if (StartUp==0){
			UDC_LIMIT_PID.resetPI = SET;
			IDC_LIMIT_PID.resetPI = SET;
			//HAL_GPIO_WritePin(RECT_SW_GPIO_Port, RECT_SW_Pin, GPIO_PIN_SET );
			PID_Result_V = PID(BUCK_VDC_REF, ADC_IN_PHY.Vdclink, &PID_CONF_StartUp);
			PWM = PID_Result_V/BUCK_VAC_REF;
			IDC_LIMIT_PID.resetPI = SET;
			UDC_LIMIT_PID.resetPI = SET;
		}
		else if (StartUp==1){
			HAL_GPIO_WritePin(RECT_SW_GPIO_Port, RECT_SW_Pin, GPIO_PIN_SET );
			HAL_GPIO_WritePin(BUCK_SW_GPIO_Port, BUCK_SW_Pin, GPIO_PIN_SET );
			HAL_GPIO_WritePin(LED_VD11_GPIO_Port, LED_VD11_Pin, GPIO_PIN_SET);
			PID_Result_V = PID(BUCK_VDC_REF, ADC_IN_PHY.Vdclink, &UDC_LIMIT_PID);
			//PID_Result_I = PID(BUCK_IDC_LIM, ADC_IN_PHY.Idclink, &IDC_LIMIT_PID);

			if (PID_Result_V<=PID_Result_I){
				PWM = PID_Result_V/BUCK_VAC_REF;
			}
			else if (PID_Result_V>PID_Result_I){
				PWM = PID_Result_I/BUCK_VAC_REF;
			}

			PID_CONF_StartUp.resetPI = SET;
			PWM = PID_Result_V/BUCK_VAC_REF;

		}
		PWM = 0.5;
		PWM_DUTY_Processing(&DMA_HRTIM_SRC, TIMER_E, PWM);

		Compare4_Set(10000);
		//HAL_HRTIM_WaveformOutputStop(&hhrtim1, HRTIM_OUTPUT_TE1);

		if (ADC_IN_PHY.Vdc>=BUCK_VDC_OV){
			HAL_HRTIM_WaveformOutputStop(&hhrtim1, HRTIM_OUTPUT_TE1);
		}		else if (ADC_IN_PHY.Vdc <= BUCK_VDC_REF_LOW_REF){
			HAL_HRTIM_WaveformOutputStart(&hhrtim1, HRTIM_OUTPUT_TE1);
		}

		//PWM_DUTY_Processing(&DMA_HRTIM_SRC, TIMER_E, 0.35);

		Calc_Start = RESET;
	}
  }
  /* USER CODE END 3 */
}

void SystemClock_Config(void)
{
  RCC_OscInitTypeDef RCC_OscInitStruct = {0};
  RCC_ClkInitTypeDef RCC_ClkInitStruct = {0};
  RCC_PeriphCLKInitTypeDef PeriphClkInit = {0};

  /** Configure the main internal regulator output voltage
  */
  HAL_PWREx_ControlVoltageScaling(PWR_REGULATOR_VOLTAGE_SCALE1_BOOST);
  /** Initializes the RCC Oscillators according to the specified parameters
  * in the RCC_OscInitTypeDef structure.
  */
  RCC_OscInitStruct.OscillatorType = RCC_OSCILLATORTYPE_HSE;
  RCC_OscInitStruct.HSEState = RCC_HSE_ON;
  RCC_OscInitStruct.PLL.PLLState = RCC_PLL_ON;
  RCC_OscInitStruct.PLL.PLLSource = RCC_PLLSOURCE_HSE;
  RCC_OscInitStruct.PLL.PLLM = RCC_PLLM_DIV2;
  RCC_OscInitStruct.PLL.PLLN = 85;
  RCC_OscInitStruct.PLL.PLLP = RCC_PLLP_DIV2;
  RCC_OscInitStruct.PLL.PLLQ = RCC_PLLQ_DIV2;
  RCC_OscInitStruct.PLL.PLLR = RCC_PLLR_DIV2;
  if (HAL_RCC_OscConfig(&RCC_OscInitStruct) != HAL_OK)
  {
    Error_Handler();
  }
  /** Initializes the CPU, AHB and APB buses clocks
  */
  RCC_ClkInitStruct.ClockType = RCC_CLOCKTYPE_HCLK|RCC_CLOCKTYPE_SYSCLK
                              |RCC_CLOCKTYPE_PCLK1|RCC_CLOCKTYPE_PCLK2;
  RCC_ClkInitStruct.SYSCLKSource = RCC_SYSCLKSOURCE_PLLCLK;
  RCC_ClkInitStruct.AHBCLKDivider = RCC_SYSCLK_DIV1;
  RCC_ClkInitStruct.APB1CLKDivider = RCC_HCLK_DIV1;
  RCC_ClkInitStruct.APB2CLKDivider = RCC_HCLK_DIV1;

  if (HAL_RCC_ClockConfig(&RCC_ClkInitStruct, FLASH_LATENCY_4) != HAL_OK)
  {
    Error_Handler();
  }
  /** Initializes the peripherals clocks
  */
  PeriphClkInit.PeriphClockSelection = RCC_PERIPHCLK_USART1|RCC_PERIPHCLK_ADC12;
  PeriphClkInit.Usart1ClockSelection = RCC_USART1CLKSOURCE_SYSCLK;
  PeriphClkInit.Adc12ClockSelection = RCC_ADC12CLKSOURCE_SYSCLK;
  if (HAL_RCCEx_PeriphCLKConfig(&PeriphClkInit) != HAL_OK)
  {
    Error_Handler();
  }
}

/* USER CODE BEGIN 4 */
void HAL_UART_RxCpltCallback(UART_HandleTypeDef *huart){
	if (huart->Instance == USART1 ){
		//HAL_GPIO_TogglePin(LED_VD11_GPIO_Port, LED_VD11_Pin);
	}
}

void HAL_UART_TxCpltCallback(UART_HandleTypeDef *huart){
	if (huart->Instance == USART1 ){
		//HAL_GPIO_TogglePin(LED_VD10_GPIO_Port, LED_VD10_Pin);
	}
}

void HAL_TIM_PeriodElapsedCallback(TIM_HandleTypeDef *htim)
{
	if (htim->Instance == TIM1){
		//20kHz
		Calc_Start = SET;
	}
	else if (htim->Instance == TIM2){
		//100kHz
		//service_adc_time_check++;
	}
	else if (htim->Instance == TIM3){
		//1kHz
		TimeoutMng();
	}
	else if (htim ->Instance == TIM4){
		//1kHz

	}
}

void HAL_HRTIM_Compare4EventCallback(HRTIM_HandleTypeDef * hhrtim, uint32_t TimerIdx){

	if (hhrtim->Instance == HRTIM1){
		if (TimerIdx == HRTIM_TIMERINDEX_TIMER_E){
			//HAL_GPIO_TogglePin(RECT_SW_GPIO_Port, RECT_SW_Pin);
		}
	}
}

void HAL_HRTIM_Compare3EventCallback(HRTIM_HandleTypeDef * hhrtim, uint32_t TimerIdx){
	if (hhrtim->Instance == HRTIM1){
		if (TimerIdx == HRTIM_TIMERINDEX_TIMER_E){
			//HAL_GPIO_TogglePin(RECT_SW_GPIO_Port, RECT_SW_Pin);
		}
	}
}

void HAL_HRTIM_Output1SetCallback(HRTIM_HandleTypeDef *hhrtim,
                                         uint32_t TimerIdx){
	if (hhrtim->Instance == HRTIM1){
		if (TimerIdx == HRTIM_TIMERINDEX_TIMER_E){
			//HAL_GPIO_TogglePin(RECT_SW_GPIO_Port, RECT_SW_Pin);
		}
	}
}

void HAL_HRTIM_RepetitionEventCallback(HRTIM_HandleTypeDef *hhrtim,
                                              uint32_t TimerIdx){
	if (hhrtim->Instance == HRTIM1){
		if (TimerIdx == HRTIM_TIMERINDEX_TIMER_E){
			//HAL_GPIO_TogglePin(LED_VD11_GPIO_Port, LED_VD11_Pin);
		}
	}
}

void HAL_HRTIM_CounterResetCallback(HRTIM_HandleTypeDef *hhrtim,
                                           uint32_t TimerIdx){
	if (hhrtim->Instance == HRTIM1){
		if (TimerIdx == HRTIM_TIMERINDEX_TIMER_E){
			//HAL_GPIO_TogglePin(LED_VD11_GPIO_Port, LED_VD11_Pin);
		}
	}
}

void HAL_HRTIM_Fault1Callback(HRTIM_HandleTypeDef *hhrtim){
	HAL_GPIO_WritePin(LED_VD10_GPIO_Port, LED_VD10_Pin, GPIO_PIN_SET );
	Status = Fault_I_DClink;
}
void HAL_HRTIM_Fault3Callback(HRTIM_HandleTypeDef *hhrtim){
	HAL_GPIO_WritePin(LED_VD5_GPIO_Port, LED_VD5_Pin, GPIO_PIN_SET );
	Status = Fault_OV_DClink;
}
void HAL_HRTIM_Fault4Callback(HRTIM_HandleTypeDef *hhrtim){
	//HAL_GPIO_WritePin(LED_VD4_GPIO_Port, LED_VD4_Pin, GPIO_PIN_SET );
	//HAL_HRTIM_WaveformOutputStop(&hhrtim1, HRTIM_OUTPUT_TE1);
	Status = Fault_Res;
}

void HAL_ADC_ConvCpltCallback(ADC_HandleTypeDef* hadc){
	if (hadc->Instance == ADC1){
		DATA_Acquisition_from_DMA(p_ADC1_Data,1);
		HAL_ADC_Start_DMA(&hadc1, p_ADC1_Data, ADC1_MA_PERIOD_RAW*ADC1_CHs);
	}
	else if (hadc->Instance == ADC2){
		DATA_Acquisition_from_DMA(p_ADC2_Data,2);
		service_adc_time_check = 0;
		HAL_GPIO_TogglePin(LED_VD11_GPIO_Port, LED_VD11_Pin);
	}
}

/* USER CODE END 4 */

void Error_Handler(void)
{
  __disable_irq();
  while (1)
  {
  }
}

/************************ (C) COPYRIGHT STMicroelectronics *****END OF FILE****/
